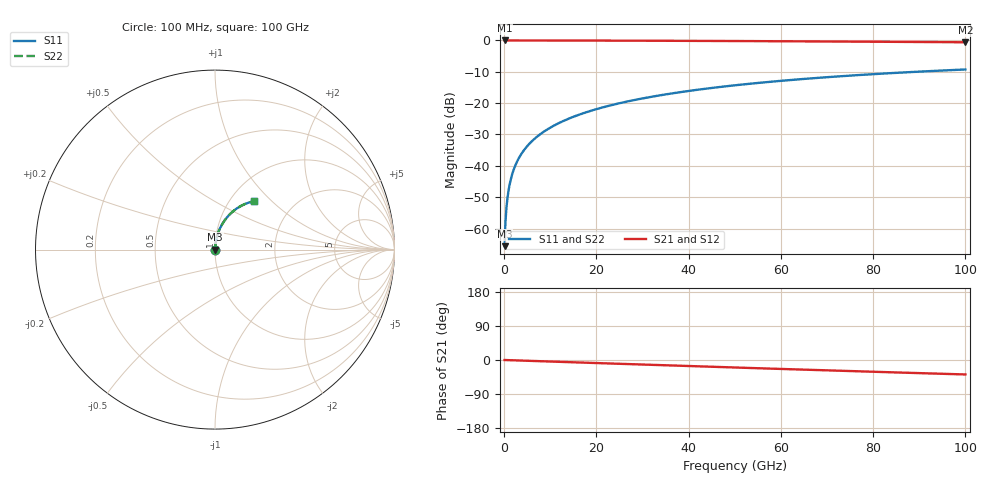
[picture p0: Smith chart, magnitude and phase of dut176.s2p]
! Touchstone file exported from HFSS 2026.1.0
!  File:  C:/ffzhzh/LocalFiles/Ansys_Project_Files/temp_train_TSV_176_1783507024_44152.aedt
!  Generated:  06:38:19 PM Jul  8, 2026
!  Design:  TSV
!  Project:  temp_train_TSV_176_1783507024_44152
! Variables:
!  h_bsmrdl = 2um
!  h_ox = 20um
!  h_rdl = 5um
!  h_sub = 58.22um
!  h_tmrdl = 5um
!  h_tsv = 58.22um
!  h_via = 3um
!  l_bsmrdl = 300um
!  l_sub = 410.22um
!  l_tmrdl = 200um
!  m_sub = 200um
!  pitch = 53.75um
!  r_tsv = 5.11um
!  s_tmrdl = 10um
!  w_bsmrdl = 18um
!  w_sub = 500um
!  w_tmrdl = 12um
!  x_tsv_center1 = 206um
!  x_tsv_center2 = 524um
!  x_tsv_center3 = 736um
!  x_tsv_center4 = 1054um
!  x_tsv_center5 = 1266um
!  x_tsv_center6 = 1584um
# GHz S MA R 50.000000
! Terminal data exported
! Port[1] = TSV1_1_T1
! Port[2] = TSV1_1_T2
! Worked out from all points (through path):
!   1000 points, 100 MHz to 100 GHz, reference 50 ohm
!   highest |S21| = 0.00 dB at 100 MHz (marker M1); lowest = -0.6 dB at 100 GHz (marker M2)
!   group delay of S21, straight-line fit = 1.06 ps
!   lowest |S11| = -65.6 dB at 100 MHz (marker M3), VSWR 1.00, Z = 50 + j0.0436 ohm
!   |S11| at or under -10 dB: start of sweep to 89.26 GHz
!   |S22| runs from -65.6 to -9.3 dB; largest |S21 - S12| = 2.2e-15
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0.1  0.0005231 56.5  0.9997 -0.0  0.9997 -0.0  0.0005231 56.5
! Gamma 0 0 0 0
! Port Impedance 50 0 50 0
0.4  0.001731 79.4  0.9997 -0.2  0.9997 -0.2  0.001731 79.4
0.7  0.002981 83.3  0.9997 -0.3  0.9997 -0.3  0.002981 83.3
0.8  0.003399 84.0  0.9997 -0.3  0.9997 -0.3  0.003399 84.0
1  0.004236 84.8  0.9996 -0.4  0.9996 -0.4  0.004236 84.8
1.3  0.00549 85.5  0.9996 -0.5  0.9996 -0.5  0.00549 85.5
1.7  0.007157 85.9  0.9996 -0.7  0.9996 -0.7  0.007157 85.9
2.3  0.009639 86.1  0.9995 -0.9  0.9995 -0.9  0.009639 86.1
3  0.01251 86.1  0.9993 -1.2  0.9993 -1.2  0.01251 86.1
3.8  0.01577 86.0  0.9992 -1.6  0.9992 -1.6  0.01577 86.0
4.8  0.01981 85.8  0.999 -2.0  0.999 -2.0  0.01981 85.8
5.9  0.02424 85.6  0.9989 -2.4  0.9989 -2.4  0.02424 85.6
8.8  0.03587 84.8  0.9983 -3.6  0.9983 -3.6  0.03587 84.7
12.4  0.05023 83.5  0.9975 -5.0  0.9975 -5.0  0.05023 83.5
16.8  0.06764 82.0  0.9963 -6.8  0.9963 -6.8  0.06764 82.0
24.2  0.09659 79.2  0.9936 -9.7  0.9936 -9.7  0.09659 79.2
33.4  0.1318 75.8  0.9892 -13.4  0.9892 -13.4  0.1318 75.8
41.2  0.1608 72.8  0.9847 -16.4  0.9847 -16.4  0.1608 72.8
50.1  0.1928 69.4  0.9788 -19.8  0.9788 -19.8  0.1928 69.4
66.7  0.2489 63.3  0.9658 -26.1  0.9658 -26.1  0.2489 63.2
83.4  0.2998 57.2  0.951 -32.3  0.951 -32.3  0.2998 57.2
100  0.3443 51.4  0.9356 -38.2  0.9356 -38.2  0.3443 51.4
